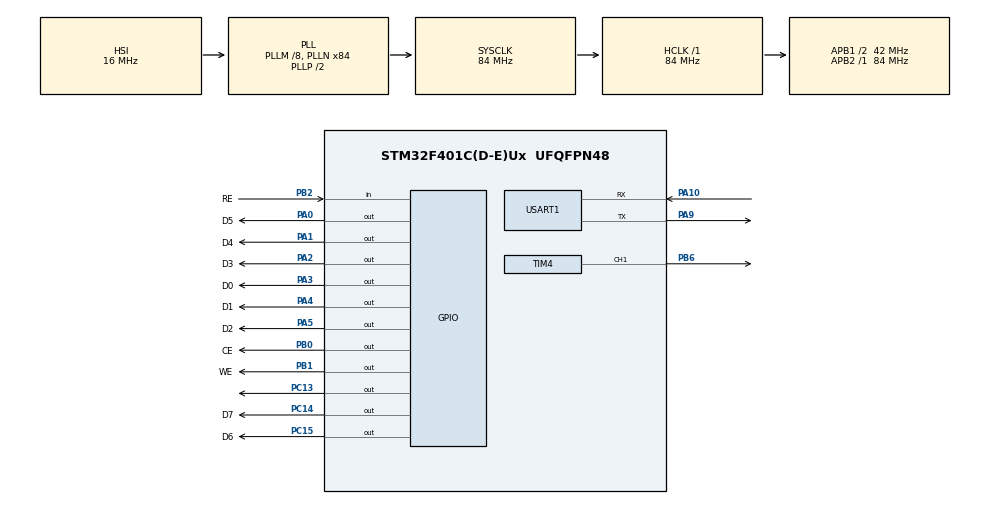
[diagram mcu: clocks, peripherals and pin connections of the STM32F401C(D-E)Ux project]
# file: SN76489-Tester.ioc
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Mcu.Family=STM32F4
Mcu.Name=STM32F401C(D-E)Ux
Mcu.Package=UFQFPN48
NVIC.PriorityGroup=NVIC_PRIORITYGROUP_4
PA0-WKUP.GPIO_Label=D5
PA0-WKUP.Signal=GPIO_Output
PA1.GPIO_Label=D4
PA1.Signal=GPIO_Output
PA10.Mode=Asynchronous
PA10.Signal=USART1_RX
PA2.GPIO_Label=D3
PA2.Signal=GPIO_Output
PA3.GPIO_Label=D0
PA3.Signal=GPIO_Output
PA4.GPIO_Label=D1
PA4.Signal=GPIO_Output
PA5.GPIO_Label=D2
PA5.Signal=GPIO_Output
PA9.Mode=Asynchronous
PA9.Signal=USART1_TX
PB0.GPIO_Label=CE
PB0.Signal=GPIO_Output
PB1.GPIO_Label=WE
PB1.Signal=GPIO_Output
PB2.GPIO_Label=RE
PB2.GPIO_PuPd=GPIO_PULLUP
PB2.Signal=GPIO_Input
PB6.Signal=S_TIM4_CH1
PC13-ANTI_TAMP.Signal=GPIO_Output
PC14-OSC32_IN.GPIO_Label=D7
PC14-OSC32_IN.Signal=GPIO_Output
PC15-OSC32_OUT.GPIO_Label=D6
PC15-OSC32_OUT.Signal=GPIO_Output
ProjectManager.HeapSize=0x200
ProjectManager.StackSize=0x400
ProjectManager.TargetToolchain=STM32CubeIDE
RCC.48MHZClocksFreq_Value=42000000
RCC.AHBFreq_Value=84000000
RCC.APB1CLKDivider=RCC_HCLK_DIV2
RCC.APB1Freq_Value=42000000
RCC.APB1TimFreq_Value=84000000
RCC.APB2Freq_Value=84000000
RCC.APB2TimFreq_Value=84000000
RCC.CortexFreq_Value=84000000
RCC.HCLKFreq_Value=84000000
RCC.HSE_VALUE=25000000
RCC.HSI_VALUE=16000000
RCC.LSE_VALUE=32768
RCC.PLLM=8
RCC.PLLN=84
RCC.SYSCLKFreq_VALUE=84000000
RCC.SYSCLKSource=RCC_SYSCLKSOURCE_PLLCLK
RCC.VCOOutputFreq_Value=168000000
SH.S_TIM4_CH1.0=TIM4_CH1,PWM Generation1 CH1
TIM4.Channel-PWM\ Generation1\ CH1=TIM_CHANNEL_1
TIM4.Period=20
TIM4.Pulse-PWM\ Generation1\ CH1=10
USART1.VirtualMode=VM_ASYNC
VP_TIM4_VS_ClockSourceINT.Mode=Internal
VP_TIM4_VS_ClockSourceITR.Mode=TriggerSource_ITR0
board=custom

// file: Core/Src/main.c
/* USER CODE BEGIN Header */
/**
  ******************************************************************************
  * @file           : main.c
  * @brief          : Main program body
  ******************************************************************************
  * @attention
  *
  * <h2><center>&copy; Copyright (c) 2021 STMicroelectronics.
  * All rights reserved.</center></h2>
  *
  * This software component is licensed by ST under BSD 3-Clause license,
  * the "License"; You may not use this file except in compliance with the
  * License. You may obtain a copy of the License at:
  *                        opensource.org/licenses/BSD-3-Clause
  *
  ******************************************************************************
  */
/* USER CODE END Header */
#include "main.h"
#include "tim.h"
#include "usart.h"
#include "gpio.h"

/* USER CODE BEGIN Includes */
#include <stdio.h>
#include <string.h>

#define REF_CLOCK	4000000

/* USER CODE END Includes */

void SystemClock_Config(void);

int main(void)
{

  /* MCU Configuration--------------------------------------------------------*/

  /* Reset of all peripherals, Initializes the Flash interface and the Systick. */
  HAL_Init();

  /* Configure the system clock */
  SystemClock_Config();

  /* Initialize all configured peripherals */
  MX_GPIO_Init();
  MX_USART1_UART_Init();
  MX_TIM4_Init();

  /* Infinite loop */
  /* USER CODE BEGIN WHILE */

  HAL_TIM_Base_Start(&htim4);
  +HAL_TIM_PWM_Start(&htim4, TIM_CHANNEL_1);
  char buf[100];

  HAL_GPIO_WritePin(CE_GPIO_Port, CE_Pin, GPIO_PIN_SET);
  HAL_GPIO_WritePin(WE_GPIO_Port, WE_Pin, GPIO_PIN_SET);
  HAL_Delay(10);

  HAL_GPIO_WritePin(CE_GPIO_Port, CE_Pin, GPIO_PIN_RESET);

  send(0x9F); // Set attenuation channel 0
  send(0xBF); // Set attenuation channel 1
  send(0xDF); // Set attenuation channel 2
  send(0xFF); // Set attenuation noise channel

     send( 0xF0 );
/*
 *

  // White Noise N/512
  send( 0b11100100);
  HAL_Delay(2000);

  send( 0xFF );
  HAL_Delay(2000);

  send( 0xF0 );

  // Periodic Noise N/512
  send( 0b11100000);
  HAL_Delay(2000);

  send( 0xFF );

  /*
  // White Noise N/1024
  send( 0b11100101);
  HAL_Delay(1000);

  // White Noise N/2048
  send( 0b11100110);
  HAL_Delay(1000);

  // Periodic Noise N/1024
  send( 0b11100001);
  HAL_Delay(1000);

  // Periodic Noise N/2048
  send( 0b11100010);
  HAL_Delay(1000);
*/

     send( 0xF0 );

     // Noise associated with Channel 2 tone
     for ( int i = 1000 ; i < 8000 ; i+= 1000 )
     {

   	  // White Noise
   	  play( 2, i );
   	  send(0xDF); // Set attenuation channel 2
   	  send( 0b11100011);
   	  HAL_Delay(400);

     }

     // Noise associated with Channel 2 tone
     for ( int i = 1000 ; i < 8000 ; i+= 1000 )
     {

   	  // Periodic Noise
   	  play( 2, i );
   	  send(0xDF); // Set attenuation channel 2
   	  send( 0b11100111);
   	  HAL_Delay(400);
     }

  send( 0xFF );

  /*
  for ( int i = 1 ; i < 4 ; i++ )
  {

	  send(0x83);
	  send(i+5);

	  //send(0xA3);
	  //send(i);

	  //send(0xC3);
	  //send(i+10);

	  HAL_Delay(500);

  }
*/

  /*

  for ( int i = 300 ; i < 2000 ; i++ ) {
	  play( 0, i );
	  HAL_Delay(1);
  }

  stop(0);
*/

  // Scales

  /*
  for ( int i = 1 ; i <= 4 ; i*=2 )
  {
	  play( 0, 261*i );
	  HAL_Delay(400);

	  play( 0, 293*i );
	  HAL_Delay(400);

	  play( 0, 329*i );
	  HAL_Delay(400);

	  play( 0, 349*i );
	  HAL_Delay(400);

	  play( 0, 392*i );
	  HAL_Delay(400);

	  play( 0, 440*i );
	  HAL_Delay(400);

	  play( 0, 493*i );
	  HAL_Delay(400);

  }

  stop(0);

  play( 0, 1000 );
*/

  /*
  for ( int i = 1 ; i <= 4 ; i*=2 )
  {

	  play( 0, 261*i );
	  HAL_Delay(400);

	  play( 1, 329*i );
	  HAL_Delay(400);

	  play( 2, 392*i );
	  HAL_Delay(2000);

	  stop(0);
	  stop(1);
	  stop(2);
  }

  for ( int i = 1 ; i <= 4 ; i*=2 )
  {

	  play( 0, 293*i );
	  HAL_Delay(400);

	  play( 1, 349*i );
	  HAL_Delay(400);

	  play( 2, 440*i );
	  HAL_Delay(2000);

	  stop(0);
	  stop(1);
	  stop(2);
  }

*/
  while (1)
  {

	  HAL_StatusTypeDef status;

	  status = HAL_UART_Receive( &huart1, (uint8_t*)buf, 1, 1000 );
	  if ( status == HAL_OK )
	  {
		  HAL_GPIO_TogglePin( GPIOC, GPIO_PIN_13 );
		  int i = (int) buf[0] - 'a';

		  int freq = REF_CLOCK / (i << 4) / 32;
		  sprintf( buf, "Frequency: %d\r\n", freq );

		  HAL_UART_Transmit( &huart1, (uint8_t*)buf, strlen(buf), 1000 );

		  send(0x90); // Set attenuation channel 0
		  //send(0xB0); // Set attenuation channel 0

		  send(0x80);
		  send(i);
		  //send(0xA0);
		  //send(i+10);
		  HAL_Delay(500);

		  send(0x9F); // Set attenuation channel 0
		  send(0xBF); // Set attenuation channel 0

	  }

	  //HAL_GPIO_TogglePin( GPIOC, GPIO_PIN_13 );
	  //HAL_Delay(500);

    /* USER CODE END WHILE */

  }
}

void SystemClock_Config(void)
{
  RCC_OscInitTypeDef RCC_OscInitStruct = {0};
  RCC_ClkInitTypeDef RCC_ClkInitStruct = {0};

  /** Configure the main internal regulator output voltage
  */
  __HAL_RCC_PWR_CLK_ENABLE();
  __HAL_PWR_VOLTAGESCALING_CONFIG(PWR_REGULATOR_VOLTAGE_SCALE2);
  /** Initializes the RCC Oscillators according to the specified parameters
  * in the RCC_OscInitTypeDef structure.
  */
  RCC_OscInitStruct.OscillatorType = RCC_OSCILLATORTYPE_HSI;
  RCC_OscInitStruct.HSIState = RCC_HSI_ON;
  RCC_OscInitStruct.HSICalibrationValue = RCC_HSICALIBRATION_DEFAULT;
  RCC_OscInitStruct.PLL.PLLState = RCC_PLL_ON;
  RCC_OscInitStruct.PLL.PLLSource = RCC_PLLSOURCE_HSI;
  RCC_OscInitStruct.PLL.PLLM = 8;
  RCC_OscInitStruct.PLL.PLLN = 84;
  RCC_OscInitStruct.PLL.PLLP = RCC_PLLP_DIV2;
  RCC_OscInitStruct.PLL.PLLQ = 4;
  if (HAL_RCC_OscConfig(&RCC_OscInitStruct) != HAL_OK)
  {
    Error_Handler();
  }
  /** Initializes the CPU, AHB and APB buses clocks
  */
  RCC_ClkInitStruct.ClockType = RCC_CLOCKTYPE_HCLK|RCC_CLOCKTYPE_SYSCLK
                              |RCC_CLOCKTYPE_PCLK1|RCC_CLOCKTYPE_PCLK2;
  RCC_ClkInitStruct.SYSCLKSource = RCC_SYSCLKSOURCE_PLLCLK;
  RCC_ClkInitStruct.AHBCLKDivider = RCC_SYSCLK_DIV1;
  RCC_ClkInitStruct.APB1CLKDivider = RCC_HCLK_DIV2;
  RCC_ClkInitStruct.APB2CLKDivider = RCC_HCLK_DIV1;

  if (HAL_RCC_ClockConfig(&RCC_ClkInitStruct, FLASH_LATENCY_2) != HAL_OK)
  {
    Error_Handler();
  }
}

/* USER CODE BEGIN 4 */

void play( int channel, int freq )
{
	int tenBitValue = REF_CLOCK / ( 32 * freq );

	int lastFourBits = tenBitValue & 0xf;
	int firstSixBit = tenBitValue >> 4;

	int soundReg = 8 + channel * 2;
	int attenuationReg = soundReg + 1;

	send( attenuationReg << 4 );

	send( (soundReg << 4) + lastFourBits );
	send(firstSixBit);
}

stop( int channel )
{
	int attenuationReg = ( 8 + channel*2 + 1 ) << 4;
	send( attenuationReg + 0xf );
}

void send(uint8_t b)
{
	  HAL_GPIO_WritePin(D0_GPIO_Port, D0_Pin, (b&128)?GPIO_PIN_SET:GPIO_PIN_RESET);
	  HAL_GPIO_WritePin(D1_GPIO_Port, D1_Pin, (b&64)?GPIO_PIN_SET:GPIO_PIN_RESET);
	  HAL_GPIO_WritePin(D2_GPIO_Port, D2_Pin, (b&32)?GPIO_PIN_SET:GPIO_PIN_RESET);
	  HAL_GPIO_WritePin(D3_GPIO_Port, D3_Pin, (b&16)?GPIO_PIN_SET:GPIO_PIN_RESET);
	  HAL_GPIO_WritePin(D4_GPIO_Port, D4_Pin, (b&8)?GPIO_PIN_SET:GPIO_PIN_RESET);
	  HAL_GPIO_WritePin(D5_GPIO_Port, D5_Pin, (b&4)?GPIO_PIN_SET:GPIO_PIN_RESET);
	  HAL_GPIO_WritePin(D6_GPIO_Port, D6_Pin, (b&2)?GPIO_PIN_SET:GPIO_PIN_RESET);
	  HAL_GPIO_WritePin(D7_GPIO_Port, D7_Pin, (b&1)?GPIO_PIN_SET:GPIO_PIN_RESET);

	  HAL_GPIO_WritePin(WE_GPIO_Port, WE_Pin, GPIO_PIN_RESET);
	  HAL_Delay(1);

	  /*
	  int status = 0;
	  do {
		  status = HAL_GPIO_ReadPin( RE_GPIO_Port, RE_Pin );
	  } while ( status == 0 );
*/

	  HAL_GPIO_WritePin(WE_GPIO_Port, WE_Pin, GPIO_PIN_SET);

}

/* USER CODE END 4 */

void Error_Handler(void)
{
}

/************************ (C) COPYRIGHT STMicroelectronics *****END OF FILE****/
